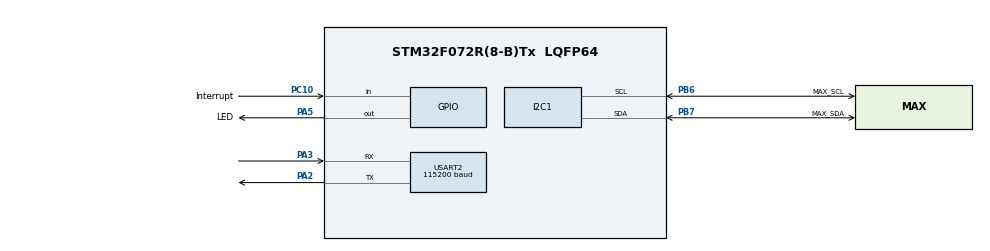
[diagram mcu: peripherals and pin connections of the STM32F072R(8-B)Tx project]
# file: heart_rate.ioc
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Mcu.Family=STM32F0
PC10.GPIO_PuPd=GPIO_PULLUP
PC10.GPIO_Label=Interrupt
PC10.Signal=GPIO_Input
PB7.GPIO_FM7=__NULL
PB6.GPIO_Label=MAX_SCL
USART2.BaudRate=115200
ProjectManager.StackSize=0x400
NVIC.I2C1_IRQn=true\:0\:0\:true\:false\:true\:true\:true
PA3.Mode=Asynchronous
ProjectManager.TargetToolchain=STM32CubeIDE
PB6.Signal=I2C1_SCL
PB6.Mode=I2C
PA5.Signal=GPIO_Output
board=custom
USART2.VirtualMode-Asynchronous=VM_ASYNC
PB7.Signal=I2C1_SDA
Mcu.Name=STM32F072R(8-B)Tx
PA2.Signal=USART2_TX
PB7.GPIO_Label=MAX_SDA
Mcu.Package=LQFP64
PA5.GPIO_Label=LED
PB6.GPIO_FM6=__NULL
PB7.Mode=I2C
ProjectManager.HeapSize=0x200
PA2.Mode=Asynchronous
PA3.Signal=USART2_RX

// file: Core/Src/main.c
/* USER CODE BEGIN Header */
/**
  ******************************************************************************
  * @file           : main.c
  * @brief          : Main program body
  ******************************************************************************
  * @attention
  *
  * <h2><center>&copy; Copyright (c) 2021 STMicroelectronics.
  * All rights reserved.</center></h2>
  *
  * This software component is licensed by ST under BSD 3-Clause license,
  * the "License"; You may not use this file except in compliance with the
  * License. You may obtain a copy of the License at:
  *                        opensource.org/licenses/BSD-3-Clause
  *
  ******************************************************************************
  */
/* USER CODE END Header */
#include "main.h"

/* USER CODE BEGIN Includes */
#include "MAX30102.h"
#include <stdlib.h>
#include <stdio.h>
#include<string.h>
#include <math.h>
/* USER CODE END Includes */

/* USER CODE BEGIN PD */
#define MAX30102_ADDR_WRITE 0xae
#define MAX30102_ADDR_READ 0xaf

#define RES_INTERRUPT_STATUS_1 0x00
#define RES_INTERRUPT_STATUS_2 0x01
#define RES_INTERRUPT_ENABLE_1 0x02
#define RES_INTERRUPT_ENABLE_2 0x03
#define RES_FIFO_WRITE_POINTER 0x04
#define RES_OVERFLOW_COUNTER 0x05
#define RES_FIFO_READ_POINTER 0x06
#define RES_FIFO_DATA_REGISTER 0x07
#define RES_FIFO_CONFIGURATION 0x08
#define RES_MODE_CONFIGURATION 0x09
#define RES_SPO2_CONFIGURATION 0x0a
#define RES_LED_PLUSE_AMPLITUDE_1 0x0c
#define RES_LED_PLUSE_AMPLITUDE_2 0x0d
#define RES_PROXIMITY_MODE_LED_PLUSE_AMPLITUDE 0x10
#define RES_MULTI_LED_MODE_CONTROL_1 0x11
#define RES_MULTI_LED_MODE_CONTROL_2 0x12
#define RES_DIE_TEMP_INTEGER 0x1f
#define RES_DIE_TEMP_FRACTION 0x20
#define RES_DIE_TEMPERATURE_CONFIG 0x21
#define RES_PROXIMITY_INTERRUPT_THRESHOLD 0x30
#define RES_REVISION_ID 0xfe
#define RES_PART_ID 0xff
/* USER CODE END PD */

I2C_HandleTypeDef hi2c1;

UART_HandleTypeDef huart2;

void SystemClock_Config(void);
static void MX_GPIO_Init(void);
static void MX_I2C1_Init(void);
static void MX_USART2_UART_Init(void);

/* USER CODE BEGIN 0 */
void max30102_init()
{
    uint8_t data = 0;
    /*reset*/
    data = 0x40;
    HAL_I2C_Mem_Write(&hi2c1, MAX30102_ADDR_WRITE, RES_MODE_CONFIGURATION, I2C_MEMADD_SIZE_8BIT, &data, 1, 10);
    do
    {
        HAL_I2C_Mem_Read(&hi2c1, MAX30102_ADDR_READ, RES_MODE_CONFIGURATION, I2C_MEMADD_SIZE_8BIT, &data, 1, 10);
    } while (data & 0x40);
    /*Новые данные прерваны*/
    data = 0x40;
    HAL_I2C_Mem_Write(&hi2c1, MAX30102_ADDR_WRITE, RES_INTERRUPT_ENABLE_1, I2C_MEMADD_SIZE_8BIT, &data, 1, 10);
    data = 0x63;
    HAL_I2C_Mem_Write(&hi2c1, MAX30102_ADDR_WRITE, RES_SPO2_CONFIGURATION, I2C_MEMADD_SIZE_8BIT, &data, 1, 10);
    /*Яркость лампы*/
    data = 0x47;
    HAL_I2C_Mem_Write(&hi2c1, MAX30102_ADDR_WRITE, RES_LED_PLUSE_AMPLITUDE_1, I2C_MEMADD_SIZE_8BIT, &data, 1, 10);
    HAL_I2C_Mem_Write(&hi2c1, MAX30102_ADDR_WRITE, RES_LED_PLUSE_AMPLITUDE_2, I2C_MEMADD_SIZE_8BIT, &data, 1, 10);
    HAL_I2C_Mem_Write(&hi2c1, MAX30102_ADDR_WRITE, RES_PROXIMITY_MODE_LED_PLUSE_AMPLITUDE, I2C_MEMADD_SIZE_8BIT, &data, 1, 10);
    /*FIFO clear*/
    data = 0;
    HAL_I2C_Mem_Write(&hi2c1, MAX30102_ADDR_WRITE, RES_FIFO_WRITE_POINTER, I2C_MEMADD_SIZE_8BIT, &data, 1, 10);
    HAL_I2C_Mem_Write(&hi2c1, MAX30102_ADDR_WRITE, RES_OVERFLOW_COUNTER, I2C_MEMADD_SIZE_8BIT, &data, 1, 10);
    HAL_I2C_Mem_Write(&hi2c1, MAX30102_ADDR_WRITE, RES_FIFO_READ_POINTER, I2C_MEMADD_SIZE_8BIT, &data, 1, 10);
    /*interrupt status clear*/
    max30102_getStatus();
    data = 0x03;
    HAL_I2C_Mem_Write(&hi2c1, MAX30102_ADDR_WRITE, RES_MODE_CONFIGURATION, I2C_MEMADD_SIZE_8BIT, &data, 1, 10);
}

uint8_t max30102_getUnreadSampleCount()
{
    uint8_t wr = 0, rd = 0;
    HAL_I2C_Mem_Read(&hi2c1, MAX30102_ADDR_READ, RES_FIFO_WRITE_POINTER, I2C_MEMADD_SIZE_8BIT, &wr, 1, 10);
    HAL_I2C_Mem_Read(&hi2c1, MAX30102_ADDR_READ, RES_FIFO_READ_POINTER, I2C_MEMADD_SIZE_8BIT, &rd, 1, 10);
    if ((wr - rd) < 0)
        return wr - rd + 32;
    else
        return wr - rd;
}

void max30102_getFIFO(SAMPLE *data, uint8_t sampleCount)
{
    uint8_t dataTemp[5 * 6];
    if (sampleCount > 5)
        sampleCount = 5;
    HAL_I2C_Mem_Read(&hi2c1, MAX30102_ADDR_READ, RES_FIFO_DATA_REGISTER,I2C_MEMADD_SIZE_8BIT, dataTemp, 6 * sampleCount, 25);
    uint8_t i;
    for (i = 0; i < sampleCount; i++)
    {
        data[i].red = (((uint32_t)dataTemp[i * 6]) << 16 | ((uint32_t)dataTemp[i * 6 + 1]) << 8 | dataTemp[i * 6 + 2]) & 0x3ffff;
        data[i].iRed = (((uint32_t)dataTemp[i * 6 + 3]) << 16 | ((uint32_t)dataTemp[i * 6 + 4]) << 8 | dataTemp[i * 6 + 5]) & 0x3ffff;
    }
}

uint8_t max30102_getStatus()
{
    uint8_t data = 0, dataTemp = 0;
    HAL_I2C_Mem_Read(&hi2c1, MAX30102_ADDR_READ, RES_INTERRUPT_STATUS_1, I2C_MEMADD_SIZE_8BIT, &dataTemp, 1, 10);
    data = dataTemp;
    HAL_I2C_Mem_Read(&hi2c1, MAX30102_ADDR_READ, RES_INTERRUPT_STATUS_2, I2C_MEMADD_SIZE_8BIT, &dataTemp, 1, 10);
    return data | dataTemp;
}

/******************************Вычислить******************************/
#define BUFF_SIZE 50
SAMPLE sampleBuff[BUFF_SIZE];

uint8_t heartRate = 0;
uint8_t spo2 = 0;

uint16_t redAC = 0;
uint32_t redDC = 0;
uint16_t iRedAC = 0;
uint32_t iRedDC = 0;

#define FILTER_LEVEL 8 /*Уровень фильтра*/

void filter(SAMPLE *s)
{
    uint8_t i;
    uint32_t red = 0;
    uint32_t ired = 0;
    for (i = 0; i < FILTER_LEVEL - 1; i++)
    {
        red += sampleBuff[i].red;
        ired += sampleBuff[i].iRed;
    }
    s->red = (red + s->red) / FILTER_LEVEL;
    s->iRed = (ired + s->iRed) / FILTER_LEVEL;
}

void buffInsert(SAMPLE s)
{
    uint8_t i;
    for (i = BUFF_SIZE - 1; i > 0; i--)
    {
        sampleBuff[i].red = sampleBuff[i - 1].red;
        sampleBuff[i].iRed = sampleBuff[i - 1].iRed;
    }
    sampleBuff[0].red = s.red;
    sampleBuff[0].iRed = s.iRed;
}

void calAcDc(uint16_t *rac, uint32_t *rdc, uint16_t *iac, uint32_t *idc)
{
    uint32_t rMax = sampleBuff[0].red;
    uint32_t rMin = sampleBuff[0].red;
    uint32_t iMax = sampleBuff[0].iRed;
    uint32_t iMin = sampleBuff[0].iRed;

    uint8_t i;
    for (i = 0; i < BUFF_SIZE; i++)
    {
        if (sampleBuff[i].red > rMax)
            rMax = sampleBuff[i].red;
        if (sampleBuff[i].red < rMin)
            rMin = sampleBuff[i].red;
        if (sampleBuff[i].iRed > iMax)
            iMax = sampleBuff[i].iRed;
        if (sampleBuff[i].iRed < iMin)
            iMin = sampleBuff[i].iRed;
    }
    *rac = rMax - rMin;
    *rdc = (rMax + rMin) / 2;
    *iac = iMax - iMin;
    *idc = (iMax + iMin) / 2;
}

int16_t eachSampleDiff = 0; //Насколько далеко это от предыдущего образца

void max30102_cal()
{
    uint8_t unreadSampleCount = max30102_getUnreadSampleCount();
    SAMPLE sampleBuffTemp[5];
    max30102_getFIFO(sampleBuffTemp, unreadSampleCount);
    static uint8_t eachBeatSampleCount = 0;    //Сколько образцов прошло через это сердцебиение
    static uint8_t lastTenBeatSampleCount[10]; //Количество выборок для каждого из последних десяти ударов сердца
    static uint32_t last_iRed = 0;             //Последнее инфракрасное значение, отфильтровано
    uint8_t i, ii;
    for (i = 0; i < unreadSampleCount; i++)
    {
        if (sampleBuffTemp[i].iRed < 40000) //Никакие пальцы не в счет, пропускаем
        {
            heartRate = 0;
            spo2 = 0;
            eachSampleDiff = 0;
            continue;
        }
        buffInsert(sampleBuffTemp[i]);
        calAcDc(&redAC, &redDC, &iRedAC, &iRedDC);
        filter(&sampleBuffTemp[i]);
        //вычислитьspo2
        float R = (((float)(redAC)) / ((float)(redDC))) / (((float)(iRedAC)) / ((float)(iRedDC)));
        if (R >= 0.36 && R < 0.66)
            spo2 = (uint8_t)(107 - 20 * R);
        else if (R >= 0.66 && R < 1)
            spo2 = (uint8_t)(129.64 - 54 * R);
        //Рассчитать пульс,30-250ppm  count:200-12
        eachSampleDiff = last_iRed - sampleBuffTemp[i].iRed;
        if (eachSampleDiff > 50 && eachBeatSampleCount > 12)
        {
            for (ii = 9; ii > 0; ii--)
                lastTenBeatSampleCount[i] = lastTenBeatSampleCount[i - 1];
            lastTenBeatSampleCount[0] = eachBeatSampleCount;
            uint32_t totalTime = 0;
            for (ii = 0; ii < 10; ii++)
                totalTime += lastTenBeatSampleCount[i];
            heartRate = (uint8_t)(60.0 * 10 / 0.02 / ((float)totalTime));
            eachBeatSampleCount = 0;
        }
        last_iRed = sampleBuffTemp[i].iRed;
        eachBeatSampleCount++;
    }
}

uint8_t max30102_getHeartRate() { return heartRate; }
uint8_t max30102_getSpO2() { return spo2; }
int16_t max30102_getDiff() { return eachSampleDiff; }
/* USER CODE END 0 */

int main(void)
{

  /* MCU Configuration--------------------------------------------------------*/

  /* Reset of all peripherals, Initializes the Flash interface and the Systick. */
  HAL_Init();

  /* Configure the system clock */
  SystemClock_Config();

  /* Initialize all configured peripherals */
  MX_GPIO_Init();
  MX_I2C1_Init();
  MX_USART2_UART_Init();
  /* USER CODE BEGIN 2 */

  max30102_init();

  /* USER CODE END 2 */

  /* Infinite loop */
  while (1)
  {

    /* USER CODE BEGIN 3 */
	  if (HAL_GPIO_ReadPin(Interrupt_GPIO_Port, Interrupt_Pin) == GPIO_PIN_RESET)
	         {
	             HAL_GPIO_TogglePin(LED_GPIO_Port, LED_Pin);
	             max30102_cal();
	             uint8_t heartReat = max30102_getHeartRate();
	             // Отображение частоты сердечных сокращений
	             if (heartReat % 1000 / 100 > 0)
	             {
	            	 HAL_UART_Transmit_IT(&huart2, heartReat, 1);
	             }
	             else
	            	 HAL_UART_Transmit(&huart2, "Put your finger on\r\n", 20, -1);
	         }
  }
  /* USER CODE END 3 */
}

void SystemClock_Config(void)
{
  RCC_OscInitTypeDef RCC_OscInitStruct = {0};
  RCC_ClkInitTypeDef RCC_ClkInitStruct = {0};
  RCC_PeriphCLKInitTypeDef PeriphClkInit = {0};

  /** Initializes the RCC Oscillators according to the specified parameters
  * in the RCC_OscInitTypeDef structure.
  */
  RCC_OscInitStruct.OscillatorType = RCC_OSCILLATORTYPE_HSI;
  RCC_OscInitStruct.HSIState = RCC_HSI_ON;
  RCC_OscInitStruct.HSICalibrationValue = RCC_HSICALIBRATION_DEFAULT;
  RCC_OscInitStruct.PLL.PLLState = RCC_PLL_NONE;
  if (HAL_RCC_OscConfig(&RCC_OscInitStruct) != HAL_OK)
  {
    Error_Handler();
  }
  /** Initializes the CPU, AHB and APB buses clocks
  */
  RCC_ClkInitStruct.ClockType = RCC_CLOCKTYPE_HCLK|RCC_CLOCKTYPE_SYSCLK
                              |RCC_CLOCKTYPE_PCLK1;
  RCC_ClkInitStruct.SYSCLKSource = RCC_SYSCLKSOURCE_HSI;
  RCC_ClkInitStruct.AHBCLKDivider = RCC_SYSCLK_DIV1;
  RCC_ClkInitStruct.APB1CLKDivider = RCC_HCLK_DIV1;

  if (HAL_RCC_ClockConfig(&RCC_ClkInitStruct, FLASH_LATENCY_0) != HAL_OK)
  {
    Error_Handler();
  }
  PeriphClkInit.PeriphClockSelection = RCC_PERIPHCLK_USART2|RCC_PERIPHCLK_I2C1;
  PeriphClkInit.Usart2ClockSelection = RCC_USART2CLKSOURCE_PCLK1;
  PeriphClkInit.I2c1ClockSelection = RCC_I2C1CLKSOURCE_HSI;
  if (HAL_RCCEx_PeriphCLKConfig(&PeriphClkInit) != HAL_OK)
  {
    Error_Handler();
  }
}

static void MX_I2C1_Init(void)
{

  hi2c1.Instance = I2C1;
  hi2c1.Init.Timing = 0x2000090E;
  hi2c1.Init.OwnAddress1 = 0;
  hi2c1.Init.AddressingMode = I2C_ADDRESSINGMODE_7BIT;
  hi2c1.Init.DualAddressMode = I2C_DUALADDRESS_DISABLE;
  hi2c1.Init.OwnAddress2 = 0;
  hi2c1.Init.OwnAddress2Masks = I2C_OA2_NOMASK;
  hi2c1.Init.GeneralCallMode = I2C_GENERALCALL_DISABLE;
  hi2c1.Init.NoStretchMode = I2C_NOSTRETCH_DISABLE;
  if (HAL_I2C_Init(&hi2c1) != HAL_OK)
  {
    Error_Handler();
  }
  /** Configure Analogue filter
  */
  if (HAL_I2CEx_ConfigAnalogFilter(&hi2c1, I2C_ANALOGFILTER_ENABLE) != HAL_OK)
  {
    Error_Handler();
  }
  /** Configure Digital filter
  */
  if (HAL_I2CEx_ConfigDigitalFilter(&hi2c1, 0) != HAL_OK)
  {
    Error_Handler();
  }

}

static void MX_USART2_UART_Init(void)
{

  huart2.Instance = USART2;
  huart2.Init.BaudRate = 115200;
  huart2.Init.WordLength = UART_WORDLENGTH_8B;
  huart2.Init.StopBits = UART_STOPBITS_1;
  huart2.Init.Parity = UART_PARITY_NONE;
  huart2.Init.Mode = UART_MODE_TX_RX;
  huart2.Init.HwFlowCtl = UART_HWCONTROL_NONE;
  huart2.Init.OverSampling = UART_OVERSAMPLING_16;
  huart2.Init.OneBitSampling = UART_ONE_BIT_SAMPLE_DISABLE;
  huart2.AdvancedInit.AdvFeatureInit = UART_ADVFEATURE_NO_INIT;
  if (HAL_UART_Init(&huart2) != HAL_OK)
  {
    Error_Handler();
  }

}

static void MX_GPIO_Init(void)
{
  GPIO_InitTypeDef GPIO_InitStruct = {0};

  /* GPIO Ports Clock Enable */
  __HAL_RCC_GPIOA_CLK_ENABLE();
  __HAL_RCC_GPIOC_CLK_ENABLE();
  __HAL_RCC_GPIOB_CLK_ENABLE();

  /*Configure GPIO pin Output Level */
  HAL_GPIO_WritePin(LED_GPIO_Port, LED_Pin, GPIO_PIN_RESET);

  /*Configure GPIO pin : LED_Pin */
  GPIO_InitStruct.Pin = LED_Pin;
  GPIO_InitStruct.Mode = GPIO_MODE_OUTPUT_PP;
  GPIO_InitStruct.Pull = GPIO_NOPULL;
  GPIO_InitStruct.Speed = GPIO_SPEED_FREQ_LOW;
  HAL_GPIO_Init(LED_GPIO_Port, &GPIO_InitStruct);

  /*Configure GPIO pin : Interrupt_Pin */
  GPIO_InitStruct.Pin = Interrupt_Pin;
  GPIO_InitStruct.Mode = GPIO_MODE_INPUT;
  GPIO_InitStruct.Pull = GPIO_PULLUP;
  HAL_GPIO_Init(Interrupt_GPIO_Port, &GPIO_InitStruct);

}

void Error_Handler(void)
{
  __disable_irq();
  while (1)
  {
  }
}

/************************ (C) COPYRIGHT STMicroelectronics *****END OF FILE****/
